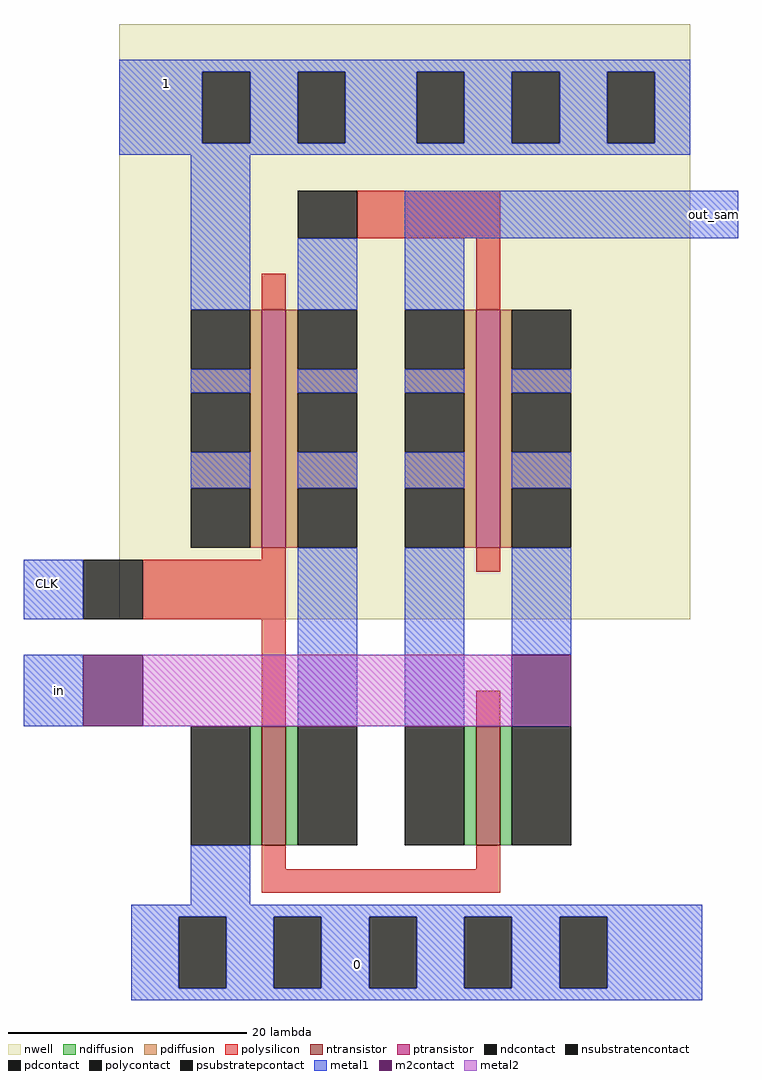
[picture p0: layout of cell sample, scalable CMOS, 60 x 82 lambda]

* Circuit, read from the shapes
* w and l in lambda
.subckt sample 0 1 CLK in out_sam
M1 n1 CLK 0 0 nfet w=10 l=2
M2 in CLK out_sam 0 nfet w=10 l=2
M3 n1 CLK 1 1 pfet w=20 l=2
M4 in n1 out_sam 1 pfet w=20 l=2
.ends

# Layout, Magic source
magic
tech scmos
<< nwell >>
rect -6 -14 42 36
<< ntransistor >>
rect 6 -33 8 -23
rect 24 -33 26 -23
<< ptransistor >>
rect 6 -8 8 12
rect 24 -8 26 12
<< ndiffusion >>
rect 5 -33 6 -23
rect 8 -33 9 -23
rect 23 -33 24 -23
rect 26 -33 27 -23
<< pdiffusion >>
rect 5 7 6 12
rect 0 5 6 7
rect 5 0 6 5
rect 0 -3 6 0
rect 5 -8 6 -3
rect 8 7 9 12
rect 8 5 14 7
rect 8 0 9 5
rect 8 -3 14 0
rect 8 -8 9 -3
rect 23 7 24 12
rect 18 5 24 7
rect 23 0 24 5
rect 18 -3 24 0
rect 23 -8 24 -3
rect 26 7 27 12
rect 26 5 32 7
rect 26 0 27 5
rect 26 -3 32 0
rect 26 -8 27 -3
<< ndcontact >>
rect 0 -33 5 -23
rect 9 -33 14 -23
rect 18 -33 23 -23
rect 27 -33 32 -23
<< pdcontact >>
rect 0 7 5 12
rect 0 0 5 5
rect 0 -8 5 -3
rect 9 7 14 12
rect 9 0 14 5
rect 9 -8 14 -3
rect 18 7 23 12
rect 18 0 23 5
rect 18 -8 23 -3
rect 27 7 32 12
rect 27 0 32 5
rect 27 -8 32 -3
<< psubstratepcontact >>
rect -1 -45 3 -39
rect 7 -45 11 -39
rect 15 -45 19 -39
rect 23 -45 27 -39
rect 31 -45 35 -39
<< nsubstratencontact >>
rect 1 26 5 32
rect 9 26 13 32
rect 19 26 23 32
rect 27 26 31 32
rect 35 26 39 32
<< polysilicon >>
rect 14 18 26 22
rect 6 12 8 15
rect 24 12 26 18
rect 6 -9 8 -8
rect -4 -14 8 -9
rect 24 -10 26 -8
rect 6 -23 8 -14
rect 24 -23 26 -20
rect 6 -35 8 -33
rect 24 -35 26 -33
rect 6 -37 26 -35
<< polycontact >>
rect 9 18 14 22
rect -9 -14 -4 -9
<< metal1 >>
rect -6 32 42 33
rect -6 26 1 32
rect 5 26 9 32
rect 13 26 19 32
rect 23 26 27 32
rect 31 26 35 32
rect 39 26 42 32
rect -6 25 42 26
rect 0 12 5 25
rect 0 5 5 7
rect 0 -3 5 0
rect 9 12 14 18
rect 9 5 14 7
rect 9 -3 14 0
rect -14 -14 -9 -9
rect -14 -23 -9 -17
rect 9 -23 14 -8
rect 18 18 46 22
rect 18 12 23 18
rect 18 5 23 7
rect 18 -3 23 0
rect 18 -23 23 -8
rect 27 5 32 7
rect 27 -3 32 0
rect 27 -17 32 -8
rect 0 -38 5 -33
rect -5 -39 43 -38
rect -5 -45 -1 -39
rect 3 -45 7 -39
rect 11 -45 15 -39
rect 19 -45 23 -39
rect 27 -45 31 -39
rect 35 -45 43 -39
rect -5 -46 43 -45
<< m2contact >>
rect -9 -23 -4 -17
rect 27 -23 32 -17
<< metal2 >>
rect -4 -23 27 -17
<< labels >>
rlabel metal1 -12 -11 -12 -11 3 CLK
rlabel metal1 14 -43 14 -43 1 0
rlabel metal1 -11 -20 -11 -20 3 in
rlabel metal1 44 20 44 20 7 out_sam
rlabel metal1 -2 31 -2 31 5 1
<< end >>
